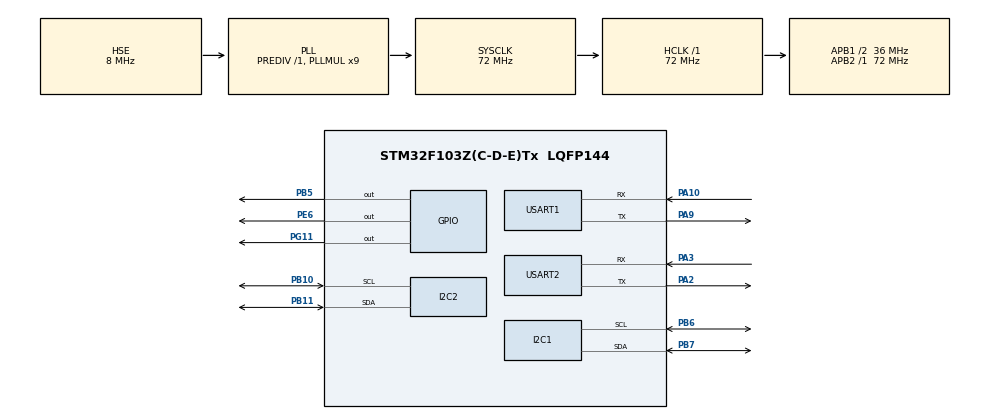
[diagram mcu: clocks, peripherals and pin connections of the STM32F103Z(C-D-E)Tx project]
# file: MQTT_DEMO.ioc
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I2C1.I2C_Mode=I2C_Fast
I2C2.I2C_Mode=I2C_Fast
Mcu.Family=STM32F1
Mcu.Name=STM32F103Z(C-D-E)Tx
Mcu.Package=LQFP144
NVIC.PriorityGroup=NVIC_PRIORITYGROUP_2
NVIC.TIM7_IRQn=true\:1\:0\:true\:false\:true\:true\:true\:true
NVIC.USART2_IRQn=true\:1\:1\:true\:false\:true\:true\:true\:true
OSC_IN.Mode=HSE-External-Oscillator
OSC_IN.Signal=RCC_OSC_IN
OSC_OUT.Mode=HSE-External-Oscillator
OSC_OUT.Signal=RCC_OSC_OUT
PA10.Mode=Asynchronous
PA10.Signal=USART1_RX
PA13.Mode=Serial_Wire
PA13.Signal=SYS_JTMS-SWDIO
PA14.Mode=Serial_Wire
PA14.Signal=SYS_JTCK-SWCLK
PA2.Mode=Asynchronous
PA2.Signal=USART2_TX
PA3.Mode=Asynchronous
PA3.Signal=USART2_RX
PA9.Mode=Asynchronous
PA9.Signal=USART1_TX
PB10.Mode=I2C
PB10.Signal=I2C2_SCL
PB11.Mode=I2C
PB11.Signal=I2C2_SDA
PB5.GPIO_Speed=GPIO_SPEED_FREQ_HIGH
PB5.PinState=GPIO_PIN_SET
PB5.Signal=GPIO_Output
PB6.Mode=I2C
PB6.Signal=I2C1_SCL
PB7.Mode=I2C
PB7.Signal=I2C1_SDA
PE6.GPIO_ModeDefaultOutputPP=GPIO_MODE_OUTPUT_PP
PE6.GPIO_Speed=GPIO_SPEED_FREQ_HIGH
PE6.PinState=GPIO_PIN_SET
PE6.Signal=GPIO_Output
PG11.GPIO_PuPd=GPIO_PULLUP
PG11.GPIO_Speed=GPIO_SPEED_FREQ_HIGH
PG11.PinState=GPIO_PIN_SET
PG11.Signal=GPIO_Output
ProjectManager.HeapSize=0x200
ProjectManager.StackSize=0x400
ProjectManager.TargetToolchain=MDK-ARM V5.32
RCC.AHBFreq_Value=72000000
RCC.APB1CLKDivider=RCC_HCLK_DIV2
RCC.APB1Freq_Value=36000000
RCC.APB1TimFreq_Value=72000000
RCC.APB2Freq_Value=72000000
RCC.APB2TimFreq_Value=72000000
RCC.HCLKFreq_Value=72000000
RCC.PLLMUL=RCC_PLL_MUL9
RCC.PLLSourceVirtual=RCC_PLLSOURCE_HSE
RCC.SYSCLKFreq_VALUE=72000000
RCC.SYSCLKSource=RCC_SYSCLKSOURCE_PLLCLK
RCC.USBFreq_Value=72000000
TIM6.Prescaler=72-1
TIM7.Period=999
TIM7.Prescaler=72 -1
USART1.VirtualMode=VM_ASYNC
USART2.VirtualMode=VM_ASYNC
VP_TIM6_VS_ClockSourceINT.Mode=Enable_Timer
VP_TIM7_VS_ClockSourceINT.Mode=Enable_Timer
board=custom

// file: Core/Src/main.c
/* USER CODE BEGIN Header */
/**
 ******************************************************************************
 * @file           : main.c
 * @brief          : Main program body
 ******************************************************************************
 * @attention
 *
 * Copyright (c) 2023 STMicroelectronics.
 * All rights reserved.
 *
 * This software is licensed under terms that can be found in the LICENSE file
 * in the root directory of this software component.
 * If no LICENSE file comes with this software, it is provided AS-IS.
 *
 ******************************************************************************
 */
/* USER CODE END Header */
#include "main.h"
#include "i2c.h"
#include "tim.h"
#include "usart.h"
#include "gpio.h"

/* USER CODE BEGIN Includes */
#include "esp8266.h"
#include "MqttKit.h"
#include "onenet.h"
#include "led.h"
#include "dht11.h"
#include "bh1750.h"
#include "oled.h"
#include "u8g2.h"
#include "u8x8.h"
#include "ui.h"
#include <stdio.h>

#include <string.h>
/* USER CODE END Includes */

/* USER CODE BEGIN PV */
char buffPublish[256];
DHT11_Data_TypeDef DHT11_Data;
uint16 Light;
uint8 led_status=0;
static uint16_t cnt = 0;
UI_FLAG_TypeDef ui = {0, 0};
int heart_Pack = 0; // 心跳时间
const char *devSubTopic[] = {"kylinBoard"};
const char devPubTopic[] = {"pcTopic"};
/* USER CODE END PV */

void SystemClock_Config(void);
/* USER CODE BEGIN PFP */
uint8_t u8x8_gpio_and_delay(u8x8_t *u8x8, uint8_t msg, uint8_t arg_int, void *arg_ptr)
{
  switch (msg)
  {
  case U8X8_MSG_DELAY_100NANO: // delay arg_int * 100 nano seconds
    __NOP();
    break;
  case U8X8_MSG_DELAY_10MICRO: // delay arg_int * 10 micro seconds
    Delay_us(10);
    break;
  case U8X8_MSG_DELAY_MILLI: // delay arg_int * 1 milli second
    HAL_Delay(1);
    break;
  case U8X8_MSG_DELAY_I2C:      // arg_int is the I2C speed in 100KHz, e.g. 4 = 400 KHz
    break;                      // arg_int=1: delay by 5us, arg_int = 4: delay by 1.25us
  case U8X8_MSG_GPIO_I2C_CLOCK: // arg_int=0: Output low at I2C clock pin
    if (arg_int = 0)
      HAL_GPIO_WritePin(GPIOB, GPIO_PIN_6, GPIO_PIN_RESET);
    else if (arg_int = 1)
      HAL_GPIO_WritePin(GPIOB, GPIO_PIN_6, GPIO_PIN_SET);
    break;                     // arg_int=1: Input dir with pullup high for I2C clock pin
  case U8X8_MSG_GPIO_I2C_DATA: // arg_int=0: Output low at I2C data pin
    if (arg_int == 1)          // arg_int=1: Input dir with pullup high for I2C data pin
      HAL_GPIO_WritePin(GPIOB, GPIO_PIN_7, GPIO_PIN_SET);
    else if (arg_int == 0)
      HAL_GPIO_WritePin(GPIOB, GPIO_PIN_7, GPIO_PIN_RESET);
    break;
  case U8X8_MSG_GPIO_MENU_SELECT:
    u8x8_SetGPIOResult(u8x8, /* get menu select pin state */ 0);
    break;
  case U8X8_MSG_GPIO_MENU_NEXT:
    u8x8_SetGPIOResult(u8x8, /* get menu next pin state */ 0);
    break;
  case U8X8_MSG_GPIO_MENU_PREV:
    u8x8_SetGPIOResult(u8x8, /* get menu prev pin state */ 0);
    break;
  case U8X8_MSG_GPIO_MENU_HOME:
    u8x8_SetGPIOResult(u8x8, /* get menu home pin state */ 0);
    break;
  default:
    u8x8_SetGPIOResult(u8x8, 1); // default return value
    break;
  }
  return 1;
}

uint8_t u8x8_byte_i2c(u8x8_t *u8x8, uint8_t msg, uint8_t arg_int, void *arg_ptr)
{
  static uint8_t buffer[32]; /* u8g2/u8x8 will never send more than 32 bytes between START_TRANSFER and END_TRANSFER */
  static uint8_t buf_idx;
  uint8_t *data;

  switch (msg)
  {
  case U8X8_MSG_BYTE_SEND:
    data = (uint8_t *)arg_ptr;
    while (arg_int > 0)
    {
      buffer[buf_idx++] = *data;
      data++;
      arg_int--;
    }
    break;
  case U8X8_MSG_BYTE_INIT:
    /* add your custom code to init i2c subsystem */
    break;
  case U8X8_MSG_BYTE_START_TRANSFER:
    buf_idx = 0;
    break;
  case U8X8_MSG_BYTE_END_TRANSFER:
    HAL_I2C_Master_Transmit(&hi2c1, u8x8_GetI2CAddress(u8x8), buffer, buf_idx, 1000);
    break;
  default:
    return 0;
  }
  return 1;
}
/* USER CODE END PFP */

int main(void)
{
  /* USER CODE BEGIN 1 */

  unsigned short timeCount = 0; // 发送间隔变量
  unsigned char *dataPtr = NULL;
  /* USER CODE END 1 */

  /* MCU Configuration--------------------------------------------------------*/

  /* Reset of all peripherals, Initializes the Flash interface and the Systick. */
  HAL_Init();

  /* Configure the system clock */
  SystemClock_Config();

  /* Initialize all configured peripherals */
  MX_GPIO_Init();
  MX_USART1_UART_Init();
  MX_USART2_UART_Init();
  MX_TIM6_Init();
  MX_I2C2_Init();
  MX_TIM7_Init();
  MX_I2C1_Init();
  /* USER CODE BEGIN 2 */
  u8g2_t u8g2;                                                                                // a structure which will contain all the data for one display
  u8g2_Setup_ssd1306_i2c_128x64_noname_1(&u8g2, U8G2_R0, u8x8_byte_i2c, u8x8_gpio_and_delay); // init u8g2 structure
  u8g2_InitDisplay(&u8g2);                                                                    // send init sequence to the display, display is in sleep mode after this,
  u8g2_SetPowerSave(&u8g2, 0);

  u8g2_FirstPage(&u8g2);
  do
  {
    u8g2_ClearBuffer(&u8g2);
    u8g2_SetFont(&u8g2, u8g2_font_6x10_tf);
    u8g2_DrawUTF8(&u8g2, 10, 30, "Loading...");
    u8g2_SendBuffer(&u8g2);
  } while (u8g2_NextPage(&u8g2));

  DHT11_Init();
  MX_USART1_UART_Init();
  MX_USART2_UART_Init();
  printf("Hardware init OK\r\n");

  ESP8266_Init(); // 初始化ESP8266

  while (OneNet_DevLink()) // 接入OneNET
    HAL_Delay(500);

  __HAL_TIM_CLEAR_IT(&htim7, TIM_IT_UPDATE);
  HAL_TIM_Base_Start_IT(&htim7);

  OneNet_Subscribe(devSubTopic, 1);
  /* USER CODE END 2 */

  /* Infinite loop */
  while (1)
  {

    /* USER CODE BEGIN 3 */
    // 软件定时发送心跳组包
    ++heart_Pack;
    if (heart_Pack == 1000)
    {
      heart_Pack = 0;
      MQTT_Ping();
      ESP8266_Clear();
    }

    /*--------------- 温度, 湿度, 光强-----------*/
    if (DHT11_Read_TempAndHumidity(&DHT11_Data) != SUCCESS)
      printf("DHT11读取失败!");

    Light = Get_BH1750_Value();
    led_status = !HAL_GPIO_ReadPin(LEDR_GPIO_PORT, LEDR_GPIO_PIN);

    /*-------------- Publish Topic --------------*/
    if (++cnt >= 4000)
    {
      printf("\r\n======== stm32Client_Publish:  <pcTopic> ===========\r\n");
      printf("||\t\t\t\t\t\t\t||\r\n");
      printf("||\t\t\t\t\t\t\t||\r\n");
      // OneNet_Publish("pcTopic", "MQTT Publish Test");
      sprintf(buffPublish, "{\"temp\":%d.%d, \"humi\":%d.%d, \"illumination\":%d, \"led_status\":%d}",
              DHT11_Data.temp_int, DHT11_Data.temp_deci, DHT11_Data.humi_int, DHT11_Data.humi_deci, Light, led_status);
      OneNet_Publish(devPubTopic, buffPublish);

      ESP8266_Clear();
      cnt = 0;
    }

    dataPtr = ESP8266_GetIPD(10);
    if (dataPtr != NULL)
      OneNet_RevPro(dataPtr);

    /*---------------- UI update --------------*/
    u8g2_FirstPage(&u8g2);
    do
    {
      dataDisplay(&u8g2);
    } while (u8g2_NextPage(&u8g2));
  }
  /* USER CODE END 3 */
}

void SystemClock_Config(void)
{
  RCC_OscInitTypeDef RCC_OscInitStruct = {0};
  RCC_ClkInitTypeDef RCC_ClkInitStruct = {0};

  /** Initializes the RCC Oscillators according to the specified parameters
   * in the RCC_OscInitTypeDef structure.
   */
  RCC_OscInitStruct.OscillatorType = RCC_OSCILLATORTYPE_HSE;
  RCC_OscInitStruct.HSEState = RCC_HSE_ON;
  RCC_OscInitStruct.HSEPredivValue = RCC_HSE_PREDIV_DIV1;
  RCC_OscInitStruct.HSIState = RCC_HSI_ON;
  RCC_OscInitStruct.PLL.PLLState = RCC_PLL_ON;
  RCC_OscInitStruct.PLL.PLLSource = RCC_PLLSOURCE_HSE;
  RCC_OscInitStruct.PLL.PLLMUL = RCC_PLL_MUL9;
  if (HAL_RCC_OscConfig(&RCC_OscInitStruct) != HAL_OK)
  {
    Error_Handler();
  }

  /** Initializes the CPU, AHB and APB buses clocks
   */
  RCC_ClkInitStruct.ClockType = RCC_CLOCKTYPE_HCLK | RCC_CLOCKTYPE_SYSCLK | RCC_CLOCKTYPE_PCLK1 | RCC_CLOCKTYPE_PCLK2;
  RCC_ClkInitStruct.SYSCLKSource = RCC_SYSCLKSOURCE_PLLCLK;
  RCC_ClkInitStruct.AHBCLKDivider = RCC_SYSCLK_DIV1;
  RCC_ClkInitStruct.APB1CLKDivider = RCC_HCLK_DIV2;
  RCC_ClkInitStruct.APB2CLKDivider = RCC_HCLK_DIV1;

  if (HAL_RCC_ClockConfig(&RCC_ClkInitStruct, FLASH_LATENCY_2) != HAL_OK)
  {
    Error_Handler();
  }
}

/* USER CODE BEGIN 4 */
void HAL_TIM_PeriodElapsedCallback(TIM_HandleTypeDef *htim)
{
  cnt++;
}
/* USER CODE END 4 */

void Error_Handler(void)
{
  __disable_irq();
  while (1)
  {
  }
}
